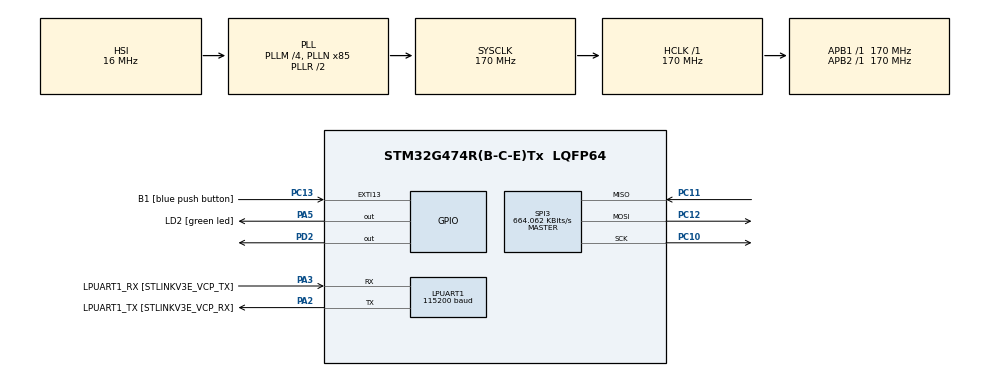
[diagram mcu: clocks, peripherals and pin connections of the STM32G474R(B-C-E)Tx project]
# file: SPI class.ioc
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LPUART1.BaudRate=115200
LPUART1.WordLength=UART_WORDLENGTH_8B
Mcu.Family=STM32G4
Mcu.Name=STM32G474R(B-C-E)Tx
Mcu.Package=LQFP64
NVIC.EXTI15_10_IRQn=true\:0\:0\:false\:false\:true\:true\:true\:true
NVIC.PriorityGroup=NVIC_PRIORITYGROUP_4
NVIC.SPI3_IRQn=true\:0\:0\:false\:false\:true\:true\:true\:true
PA13.GPIO_Label=T_SWDIO
PA13.Mode=Serial_Wire
PA13.Signal=SYS_JTMS-SWDIO
PA14.GPIO_Label=T_SWCLK
PA14.Mode=Serial_Wire
PA14.Signal=SYS_JTCK-SWCLK
PA2.GPIO_Label=LPUART1_TX [STLINKV3E_VCP_RX]
PA2.Mode=Asynchronous
PA2.Signal=LPUART1_TX
PA3.GPIO_Label=LPUART1_RX [STLINKV3E_VCP_TX]
PA3.Mode=Asynchronous
PA3.Signal=LPUART1_RX
PA5.GPIO_Label=LD2 [green led]
PA5.Signal=GPIO_Output
PB3.GPIO_Label=T_SWO
PB3.Signal=SYS_JTDO-SWO
PC10.Mode=Full_Duplex_Master
PC10.Signal=SPI3_SCK
PC11.Mode=Full_Duplex_Master
PC11.Signal=SPI3_MISO
PC12.Mode=Full_Duplex_Master
PC12.Signal=SPI3_MOSI
PC13.GPIO_Label=B1 [blue push button]
PC13.Signal=GPXTI13
PC14-OSC32_IN.Mode=LSE-External-Oscillator
PC14-OSC32_IN.Signal=RCC_OSC32_IN
PC15-OSC32_OUT.Mode=LSE-External-Oscillator
PC15-OSC32_OUT.Signal=RCC_OSC32_OUT
PD2.PinState=GPIO_PIN_SET
PD2.Signal=GPIO_Output
PF0-OSC_IN.Mode=HSE-External-Oscillator
PF0-OSC_IN.Signal=RCC_OSC_IN
PF1-OSC_OUT.Mode=HSE-External-Oscillator
PF1-OSC_OUT.Signal=RCC_OSC_OUT
ProjectManager.HeapSize=0x200
ProjectManager.StackSize=0x400
ProjectManager.TargetToolchain=STM32CubeIDE
RCC.ADC12Freq_Value=170000000
RCC.ADC345Freq_Value=170000000
RCC.AHBFreq_Value=170000000
RCC.APB1Freq_Value=170000000
RCC.APB1TimFreq_Value=170000000
RCC.APB2Freq_Value=170000000
RCC.APB2TimFreq_Value=170000000
RCC.CortexFreq_Value=170000000
RCC.EXTERNAL_CLOCK_VALUE=12288000
RCC.HCLKFreq_Value=170000000
RCC.HSE_VALUE=24000000
RCC.HSI48_VALUE=48000000
RCC.HSI_VALUE=16000000
RCC.PLLM=RCC_PLLM_DIV4
RCC.PLLN=85
RCC.RTCClockSelection=RCC_RTCCLKSOURCE_LSE
RCC.SYSCLKFreq_VALUE=170000000
RCC.SYSCLKSource=RCC_SYSCLKSOURCE_PLLCLK
RCC.USBFreq_Value=170000000
RCC.VCOOutputFreq_Value=340000000
SPI3.BaudRatePrescaler=SPI_BAUDRATEPRESCALER_256
SPI3.CLKPhase=SPI_PHASE_2EDGE
SPI3.CLKPolarity=SPI_POLARITY_HIGH
SPI3.CalculateBaudRate=664.062 KBits/s
SPI3.DataSize=SPI_DATASIZE_8BIT
SPI3.Direction=SPI_DIRECTION_2LINES
SPI3.Mode=SPI_MODE_MASTER
SPI3.VirtualType=VM_MASTER
VP_SYS_VS_DBSignals.Mode=DisableDeadBatterySignals
board=NUCLEO-G474RE

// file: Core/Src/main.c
/* USER CODE BEGIN Header */
/**
  ******************************************************************************
  * @file           : main.c
  * @brief          : Main program body
  ******************************************************************************
  * @attention
  *
  * Copyright (c) 2024 STMicroelectronics.
  * All rights reserved.
  *
  * This software is licensed under terms that can be found in the LICENSE file
  * in the root directory of this software component.
  * If no LICENSE file comes with this software, it is provided AS-IS.
  *
  ******************************************************************************
  */
/* USER CODE END Header */
#include "main.h"

UART_HandleTypeDef hlpuart1;

SPI_HandleTypeDef hspi3;

/* USER CODE BEGIN PV */
uint8_t SPIRx[10];
uint8_t SPITx[10];
/* USER CODE END PV */

void SystemClock_Config(void);
static void MX_GPIO_Init(void);
static void MX_LPUART1_UART_Init(void);
static void MX_SPI3_Init(void);
/* USER CODE BEGIN PFP */
void SPITxRx_Setup();
void SPITxRx_readIO();
void HAL_SPI_TxRxCpltCallback(SPI_HandleTypeDef *hspi);
/* USER CODE END PFP */

int main(void)
{

  /* MCU Configuration--------------------------------------------------------*/

  /* Reset of all peripherals, Initializes the Flash interface and the Systick. */
  HAL_Init();

  /* Configure the system clock */
  SystemClock_Config();

  /* Initialize all configured peripherals */
  MX_GPIO_Init();
  MX_LPUART1_UART_Init();
  MX_SPI3_Init();
  /* USER CODE BEGIN 2 */
  SPITxRx_Setup();
  /* USER CODE END 2 */

  /* Infinite loop */
  while (1)
  {

    /* USER CODE BEGIN 3 */
	  SPITxRx_readIO();
  }
  /* USER CODE END 3 */
}

void SystemClock_Config(void)
{
  RCC_OscInitTypeDef RCC_OscInitStruct = {0};
  RCC_ClkInitTypeDef RCC_ClkInitStruct = {0};

  /** Configure the main internal regulator output voltage
  */
  HAL_PWREx_ControlVoltageScaling(PWR_REGULATOR_VOLTAGE_SCALE1_BOOST);

  /** Initializes the RCC Oscillators according to the specified parameters
  * in the RCC_OscInitTypeDef structure.
  */
  RCC_OscInitStruct.OscillatorType = RCC_OSCILLATORTYPE_HSI;
  RCC_OscInitStruct.HSIState = RCC_HSI_ON;
  RCC_OscInitStruct.HSICalibrationValue = RCC_HSICALIBRATION_DEFAULT;
  RCC_OscInitStruct.PLL.PLLState = RCC_PLL_ON;
  RCC_OscInitStruct.PLL.PLLSource = RCC_PLLSOURCE_HSI;
  RCC_OscInitStruct.PLL.PLLM = RCC_PLLM_DIV4;
  RCC_OscInitStruct.PLL.PLLN = 85;
  RCC_OscInitStruct.PLL.PLLP = RCC_PLLP_DIV2;
  RCC_OscInitStruct.PLL.PLLQ = RCC_PLLQ_DIV2;
  RCC_OscInitStruct.PLL.PLLR = RCC_PLLR_DIV2;
  if (HAL_RCC_OscConfig(&RCC_OscInitStruct) != HAL_OK)
  {
    Error_Handler();
  }

  /** Initializes the CPU, AHB and APB buses clocks
  */
  RCC_ClkInitStruct.ClockType = RCC_CLOCKTYPE_HCLK|RCC_CLOCKTYPE_SYSCLK
                              |RCC_CLOCKTYPE_PCLK1|RCC_CLOCKTYPE_PCLK2;
  RCC_ClkInitStruct.SYSCLKSource = RCC_SYSCLKSOURCE_PLLCLK;
  RCC_ClkInitStruct.AHBCLKDivider = RCC_SYSCLK_DIV1;
  RCC_ClkInitStruct.APB1CLKDivider = RCC_HCLK_DIV1;
  RCC_ClkInitStruct.APB2CLKDivider = RCC_HCLK_DIV1;

  if (HAL_RCC_ClockConfig(&RCC_ClkInitStruct, FLASH_LATENCY_4) != HAL_OK)
  {
    Error_Handler();
  }
}

static void MX_LPUART1_UART_Init(void)
{

  hlpuart1.Instance = LPUART1;
  hlpuart1.Init.BaudRate = 115200;
  hlpuart1.Init.WordLength = UART_WORDLENGTH_8B;
  hlpuart1.Init.StopBits = UART_STOPBITS_1;
  hlpuart1.Init.Parity = UART_PARITY_NONE;
  hlpuart1.Init.Mode = UART_MODE_TX_RX;
  hlpuart1.Init.HwFlowCtl = UART_HWCONTROL_NONE;
  hlpuart1.Init.OneBitSampling = UART_ONE_BIT_SAMPLE_DISABLE;
  hlpuart1.Init.ClockPrescaler = UART_PRESCALER_DIV1;
  hlpuart1.AdvancedInit.AdvFeatureInit = UART_ADVFEATURE_NO_INIT;
  if (HAL_UART_Init(&hlpuart1) != HAL_OK)
  {
    Error_Handler();
  }
  if (HAL_UARTEx_SetTxFifoThreshold(&hlpuart1, UART_TXFIFO_THRESHOLD_1_8) != HAL_OK)
  {
    Error_Handler();
  }
  if (HAL_UARTEx_SetRxFifoThreshold(&hlpuart1, UART_RXFIFO_THRESHOLD_1_8) != HAL_OK)
  {
    Error_Handler();
  }
  if (HAL_UARTEx_DisableFifoMode(&hlpuart1) != HAL_OK)
  {
    Error_Handler();
  }

}

static void MX_SPI3_Init(void)
{

  /* SPI3 parameter configuration*/
  hspi3.Instance = SPI3;
  hspi3.Init.Mode = SPI_MODE_MASTER;
  hspi3.Init.Direction = SPI_DIRECTION_2LINES;
  hspi3.Init.DataSize = SPI_DATASIZE_8BIT;
  hspi3.Init.CLKPolarity = SPI_POLARITY_HIGH;
  hspi3.Init.CLKPhase = SPI_PHASE_2EDGE;
  hspi3.Init.NSS = SPI_NSS_SOFT;
  hspi3.Init.BaudRatePrescaler = SPI_BAUDRATEPRESCALER_256;
  hspi3.Init.FirstBit = SPI_FIRSTBIT_MSB;
  hspi3.Init.TIMode = SPI_TIMODE_DISABLE;
  hspi3.Init.CRCCalculation = SPI_CRCCALCULATION_DISABLE;
  hspi3.Init.CRCPolynomial = 7;
  hspi3.Init.CRCLength = SPI_CRC_LENGTH_DATASIZE;
  hspi3.Init.NSSPMode = SPI_NSS_PULSE_DISABLE;
  if (HAL_SPI_Init(&hspi3) != HAL_OK)
  {
    Error_Handler();
  }

}

static void MX_GPIO_Init(void)
{
  GPIO_InitTypeDef GPIO_InitStruct = {0};

  /* GPIO Ports Clock Enable */
  __HAL_RCC_GPIOC_CLK_ENABLE();
  __HAL_RCC_GPIOF_CLK_ENABLE();
  __HAL_RCC_GPIOA_CLK_ENABLE();
  __HAL_RCC_GPIOD_CLK_ENABLE();
  __HAL_RCC_GPIOB_CLK_ENABLE();

  /*Configure GPIO pin Output Level */
  HAL_GPIO_WritePin(LD2_GPIO_Port, LD2_Pin, GPIO_PIN_RESET);

  /*Configure GPIO pin Output Level */
  HAL_GPIO_WritePin(GPIOD, GPIO_PIN_2, GPIO_PIN_SET);

  /*Configure GPIO pin : B1_Pin */
  GPIO_InitStruct.Pin = B1_Pin;
  GPIO_InitStruct.Mode = GPIO_MODE_IT_RISING;
  GPIO_InitStruct.Pull = GPIO_NOPULL;
  HAL_GPIO_Init(B1_GPIO_Port, &GPIO_InitStruct);

  /*Configure GPIO pin : LD2_Pin */
  GPIO_InitStruct.Pin = LD2_Pin;
  GPIO_InitStruct.Mode = GPIO_MODE_OUTPUT_PP;
  GPIO_InitStruct.Pull = GPIO_NOPULL;
  GPIO_InitStruct.Speed = GPIO_SPEED_FREQ_LOW;
  HAL_GPIO_Init(LD2_GPIO_Port, &GPIO_InitStruct);

  /*Configure GPIO pin : PD2 */
  GPIO_InitStruct.Pin = GPIO_PIN_2;
  GPIO_InitStruct.Mode = GPIO_MODE_OUTPUT_PP;
  GPIO_InitStruct.Pull = GPIO_NOPULL;
  GPIO_InitStruct.Speed = GPIO_SPEED_FREQ_LOW;
  HAL_GPIO_Init(GPIOD, &GPIO_InitStruct);

  /* EXTI interrupt init*/
  HAL_NVIC_SetPriority(EXTI15_10_IRQn, 0, 0);
  HAL_NVIC_EnableIRQ(EXTI15_10_IRQn);

}

/* USER CODE BEGIN 4 */
void SPITxRx_Setup()
{
	//CS pulse
	HAL_GPIO_WritePin(GPIOD, GPIO_PIN_2, 0); // CS Select
	HAL_Delay(1);
	HAL_GPIO_WritePin(GPIOD, GPIO_PIN_2, 1); // CS deSelect
	HAL_Delay(1);
}
void SPITxRx_readIO()
{
	if(HAL_GPIO_ReadPin(GPIOD,GPIO_PIN_2)) // : Check if pin D2 high (low mean it's still working)
	{
		HAL_GPIO_WritePin(GPIOD, GPIO_PIN_2, 0); // CS Select
		SPITx[0] = 0b01000001; // : binary
		SPITx[1] = 0x12; // : 16nary
		SPITx[2] = 0;
		SPITx[3] = 0;
		HAL_SPI_TransmitReceive_IT(&hspi3, SPITx, SPIRx, 4); // : transmit and receive at the same time (because SPI can)
	}
}
void HAL_SPI_TxRxCpltCallback(SPI_HandleTypeDef *hspi) // When SPI finish working
{
	HAL_GPIO_WritePin(GPIOD, GPIO_PIN_2, 1); //CS dnSelect
}
/* USER CODE END 4 */

void Error_Handler(void)
{
  __disable_irq();
  while (1)
  {
  }
}
